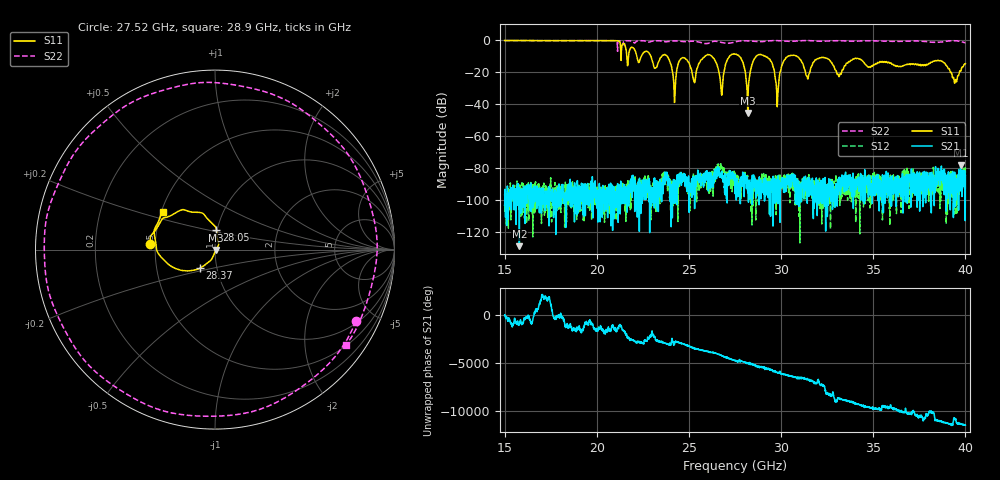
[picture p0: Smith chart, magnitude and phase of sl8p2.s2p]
#  HZ  S  RI  R  50.00
! Rohde & Schwarz Vector Network Analyzer
! Rohde-Schwarz,ZNA43-4Port,1332450044101932,2.92
! Created: UTC 4/16/2025, 7:33:42 AM
! freq[Hz]  re:S11  im:S11  re:S21  im:S21  re:S12  im:S12  re:S22  im:S22
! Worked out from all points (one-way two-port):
!   2501 points, 15 GHz to 40 GHz, reference 50 ohm
!   highest |S21| = -78.29 dB at 39.74 GHz (marker M1); lowest = -128.7 dB at 15.8 GHz (marker M2)
!   lowest |S11| = -45.4 dB at 28.19 GHz (marker M3), VSWR 1.01, Z = 50.5 - j0.255 ohm
!   |S11| at or under -10 dB: 23.82 GHz to 25.87 GHz (2.047 GHz wide, 8.24 % of centre); 29.15 GHz to 30.38 GHz (1.229 GHz wide, 4.13 % of centre); 30.85 GHz to end of sweep (the widest 3 of 9)
!   |S22| runs from -6.9 to -0.2 dB; largest |S21 - S12| = 0.00012
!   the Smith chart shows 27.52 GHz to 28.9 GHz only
!   S11 on the Smith chart (normalised r, x): 27.52 GHz: 0.47, +0.03; 28.05 GHz: 0.99, +0.22; 28.37 GHz: 0.83, -0.17; 28.9 GHz: 0.51, +0.25
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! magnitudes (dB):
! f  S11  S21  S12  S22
! 15 GHz  -0.2  -103.2  -96.1  -0.3
! 15.8 GHz  -0.2  -128.7  -104.7  -0.2
! 19.17 GHz  -0.3  -89.3  -101.6  -0.3
! 23.34 GHz  -13.8  -107.0  -88.6  -0.4
! 23.8 GHz  -9.7  -82.4  -85.1  -1.0
! 24.22 GHz  -38.9  -87.2  -94.0  -0.5
! 24.59 GHz  -11.4  -90.7  -84.4  -0.7
! 25.28 GHz  -25.9  -96.6  -89.2  -0.7
! 26.11 GHz  -9.1  -92.6  -90.9  -1.7
! 26.77 GHz  -33.9  -82.5  -78.8  -1.4
! 27.5 GHz  -8.8  -90.8  -86.1  -1.2
! 27.52 GHz  -8.8  -85.9  -85.6  -1.1
! 28.05 GHz  -19.2  -84.3  -86.6  -0.4
! 28.19 GHz  -45.4  -90.8  -87.3  -0.5
! 28.37 GHz  -17.5  -89.5  -90.0  -0.6
! 28.9 GHz  -8.9  -99.2  -87.4  -0.9
! 29.78 GHz  -38.5  -101.1  -86.7  -0.3
! 30.37 GHz  -10.1  -89.1  -90.3  -0.7
! 31.67 GHz  -16.2  -87.0  -99.2  -0.4
! 35.84 GHz  -13.7  -89.1  -93.8  -0.7
! 39.74 GHz  -19.3  -78.3  -87.4  -0.8
! 40 GHz  -14.7  -84.5  -83.3  -1.7
